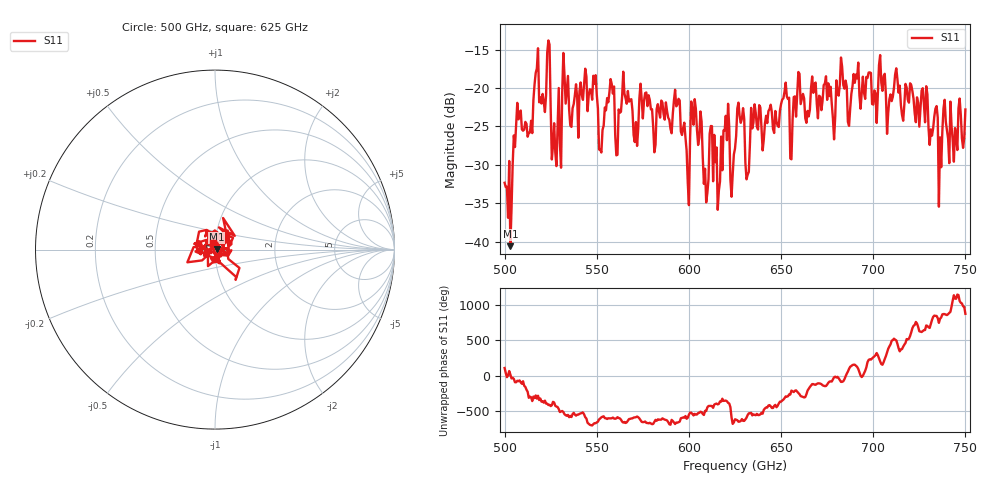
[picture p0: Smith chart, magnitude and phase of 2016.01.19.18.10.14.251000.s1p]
!Created with skrf (http://scikit-rf.org).
# GHz S RI R 50.0
!freq ReS11 ImS11
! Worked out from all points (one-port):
!   401 points, 500 GHz to 750 GHz, reference 50 ohm
!   lowest |S11| = -40.6 dB at 503.1 GHz (marker M1), VSWR 1.02, Z = 50.9 + j0.268 ohm
!   |S11| at or under -10 dB: start of sweep to end of sweep
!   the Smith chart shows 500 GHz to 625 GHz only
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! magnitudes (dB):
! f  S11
! 500 GHz  -32.3
! 503.1 GHz  -40.6
! 507.5 GHz  -24.1
! 513.8 GHz  -25.8
! 516.9 GHz  -18.0
! 523.8 GHz  -13.8
! 526.9 GHz  -24.6
! 531.2 GHz  -20.6
! 562.5 GHz  -23.2
! 593.8 GHz  -22.2
! 599.4 GHz  -32.3
! 602.5 GHz  -24.8
! 609.4 GHz  -34.9
! 612.5 GHz  -25.0
! 615.6 GHz  -35.9
! 620 GHz  -23.6
! 623.8 GHz  -31.3
! 625 GHz  -27.9
! 628.1 GHz  -24.5
! 631.9 GHz  -31.3
! 635 GHz  -24.5
! 651.9 GHz  -20.5
! 656.2 GHz  -24.1
! 660 GHz  -18.1
! 687.5 GHz  -22.7
! 718.8 GHz  -21.5
! 736.2 GHz  -26.4
! 750 GHz  -22.8
